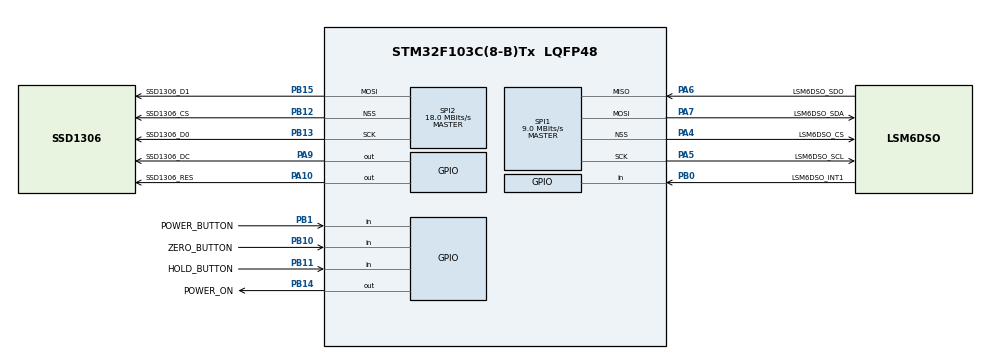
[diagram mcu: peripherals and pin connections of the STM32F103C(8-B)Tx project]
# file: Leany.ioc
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Dma.Request0=SPI2_TX
Dma.SPI2_TX.0.Direction=DMA_MEMORY_TO_PERIPH
Dma.SPI2_TX.0.Instance=DMA1_Channel5
Dma.SPI2_TX.0.MemDataAlignment=DMA_MDATAALIGN_BYTE
Dma.SPI2_TX.0.MemInc=DMA_MINC_ENABLE
Dma.SPI2_TX.0.Mode=DMA_NORMAL
Dma.SPI2_TX.0.PeriphDataAlignment=DMA_PDATAALIGN_BYTE
Dma.SPI2_TX.0.PeriphInc=DMA_PINC_DISABLE
Dma.SPI2_TX.0.Priority=DMA_PRIORITY_LOW
IWDG.Prescaler=IWDG_PRESCALER_4
IWDG.Reload=1000
Mcu.Family=STM32F1
Mcu.Name=STM32F103C(8-B)Tx
Mcu.Package=LQFP48
NVIC.PriorityGroup=NVIC_PRIORITYGROUP_4
PA10.GPIO_Label=SSD1306_RES
PA10.Signal=GPIO_Output
PA13.GPIO_Label=DEBUG_SWDIO
PA13.Mode=Serial_Wire
PA13.Signal=SYS_JTMS-SWDIO
PA14.GPIO_Label=DEBUG_SWCLK
PA14.Mode=Serial_Wire
PA14.Signal=SYS_JTCK-SWCLK
PA4.GPIO_Label=LSM6DSO_CS
PA4.Mode=NSS_Signal_Hard_Output
PA4.Signal=SPI1_NSS
PA5.GPIO_Label=LSM6DSO_SCL
PA5.Mode=Full_Duplex_Master
PA5.Signal=SPI1_SCK
PA6.GPIO_Label=LSM6DSO_SDO
PA6.Mode=Full_Duplex_Master
PA6.Signal=SPI1_MISO
PA7.GPIO_Label=LSM6DSO_SDA
PA7.Mode=Full_Duplex_Master
PA7.Signal=SPI1_MOSI
PA9.GPIO_Label=SSD1306_DC
PA9.Signal=GPIO_Output
PB0.GPIO_Label=LSM6DSO_INT1
PB0.GPIO_PuPd=GPIO_PULLUP
PB0.Signal=GPIO_Input
PB1.GPIO_Label=POWER_BUTTON
PB1.GPIO_PuPd=GPIO_PULLUP
PB1.Signal=GPIO_Input
PB10.GPIO_Label=ZERO_BUTTON
PB10.GPIO_PuPd=GPIO_PULLUP
PB10.Signal=GPIO_Input
PB11.GPIO_Label=HOLD_BUTTON
PB11.GPIO_PuPd=GPIO_PULLUP
PB11.Signal=GPIO_Input
PB12.GPIO_Label=SSD1306_CS
PB12.Mode=NSS_Signal_Hard_Output
PB12.Signal=SPI2_NSS
PB13.GPIO_Label=SSD1306_D0
PB13.Mode=TX_Only_Simplex_Unidirect_Master
PB13.Signal=SPI2_SCK
PB14.GPIO_Label=POWER_ON
PB14.GPIO_Speed=GPIO_SPEED_FREQ_HIGH
PB14.PinState=GPIO_PIN_SET
PB14.Signal=GPIO_Output
PB15.GPIO_Label=SSD1306_D1
PB15.Mode=TX_Only_Simplex_Unidirect_Master
PB15.Signal=SPI2_MOSI
PD0-OSC_IN.Mode=HSE-External-Oscillator
PD0-OSC_IN.Signal=RCC_OSC_IN
PD1-OSC_OUT.Mode=HSE-External-Oscillator
PD1-OSC_OUT.Signal=RCC_OSC_OUT
ProjectManager.HeapSize=0x000
ProjectManager.StackSize=0x400
ProjectManager.TargetToolchain=CMake
RCC.AHBFreq_Value=72000000
RCC.APB1CLKDivider=RCC_HCLK_DIV2
RCC.APB1Freq_Value=36000000
RCC.APB1TimFreq_Value=72000000
RCC.APB2Freq_Value=72000000
RCC.APB2TimFreq_Value=72000000
RCC.HCLKFreq_Value=72000000
RCC.PLLMUL=RCC_PLL_MUL9
RCC.PLLSourceVirtual=RCC_PLLSOURCE_HSE
RCC.SYSCLKFreq_VALUE=72000000
RCC.SYSCLKSource=RCC_SYSCLKSOURCE_PLLCLK
RCC.USBFreq_Value=72000000
SPI1.BaudRatePrescaler=SPI_BAUDRATEPRESCALER_8
SPI1.CLKPhase=SPI_PHASE_2EDGE
SPI1.CLKPolarity=SPI_POLARITY_HIGH
SPI1.CalculateBaudRate=9.0 MBits/s
SPI1.Direction=SPI_DIRECTION_2LINES
SPI1.FirstBit=SPI_FIRSTBIT_MSB
SPI1.Mode=SPI_MODE_MASTER
SPI1.VirtualNSS=VM_NSSHARD
SPI1.VirtualType=VM_MASTER
SPI2.CLKPhase=SPI_PHASE_2EDGE
SPI2.CLKPolarity=SPI_POLARITY_HIGH
SPI2.CalculateBaudRate=18.0 MBits/s
SPI2.Direction=SPI_DIRECTION_2LINES
SPI2.Mode=SPI_MODE_MASTER
SPI2.VirtualNSS=VM_NSSHARD
SPI2.VirtualType=VM_MASTER
VP_IWDG_VS_IWDG.Mode=IWDG_Activate
board=custom

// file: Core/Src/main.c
/* USER CODE BEGIN Header */
// clang-format off
/**
  ******************************************************************************
  * @file           : main.c
  * @brief          : Main program body
  ******************************************************************************
  * @attention
  *
  * Copyright (c) 2023 STMicroelectronics.
  * All rights reserved.
  *
  * This software is licensed under terms that can be found in the LICENSE file
  * in the root directory of this software component.
  * If no LICENSE file comes with this software, it is provided AS-IS.
  *
  ******************************************************************************
  */
/* USER CODE END Header */
#include "main.h"
#include "dma.h"
#include "iwdg.h"
#include "spi.h"
#include "gpio.h"

/* USER CODE BEGIN Includes */
#include "LSM6DSO.h"
#include "SSD1306.h"
#include "buttons.h"
/* USER CODE END Includes */

void SystemClock_Config(void);
/* USER CODE BEGIN PFP */
extern inline uint8_t isError(const errorCode_u code);
/* USER CODE END PFP */

/* USER CODE BEGIN 0 */
/**
 * @brief Reset the POWER ON pin to shut the system down
 */
static inline void powerOFF(){
  LL_GPIO_ResetOutputPin(POWER_ON_GPIO_Port, POWER_ON_Pin);
}
/* USER CODE END 0 */

int main(void)
{

  /* USER CODE BEGIN 1 */
  uint8_t holdingValues = 0;
  /* USER CODE END 1 */

  /* MCU Configuration--------------------------------------------------------*/

  /* Reset of all peripherals, Initializes the Flash interface and the Systick. */
  LL_APB2_GRP1_EnableClock(LL_APB2_GRP1_PERIPH_AFIO);
  LL_APB1_GRP1_EnableClock(LL_APB1_GRP1_PERIPH_PWR);

  /* System interrupt init*/
  NVIC_SetPriorityGrouping(NVIC_PRIORITYGROUP_4);

  /* SysTick_IRQn interrupt configuration */
  NVIC_SetPriority(SysTick_IRQn, NVIC_EncodePriority(NVIC_GetPriorityGrouping(),15, 0));

  /** NOJTAG: JTAG-DP Disabled and SW-DP Enabled
  */
  LL_GPIO_AF_Remap_SWJ_NOJTAG();

  /* Configure the system clock */
  SystemClock_Config();

  /* Initialize all configured peripherals */
  MX_GPIO_Init();
  MX_DMA_Init();
  MX_SPI2_Init();
  MX_IWDG_Init();
  MX_SPI1_Init();
  /* USER CODE BEGIN 2 */
  LL_SYSTICK_EnableIT();
  LSM6DSOinitialise(SPI1);
  SSD1306initialise(SPI2, DMA1, LL_DMA_CHANNEL_5);
  /* USER CODE END 2 */

  /* Infinite loop */
  /* USER CODE BEGIN WHILE */
  errorCode_u result;
  while (1)
  {
    //reset the watchdog
    LL_IWDG_ReloadCounter(IWDG);

	  //update the MEMS sensor state machine
	  result = LSM6DSOupdate();
	  if(isError(result)){
		  result.moduleID = 1;
    }

	  //update the screen state machine
	  result = SSD1306update();
	  if(isError(result)){
		  result.moduleID = 2;
    }

    //update the buttons' state machines
    buttonsUpdate();

    //if zero button is pressed, zero down measurements
    if(buttonHasRisingEdge(ZERO)){
     LSM6DSOzeroDown();
      SSD1306_printReferentialIcon(RELATIVE);
    }

    //if zero button is held down, get back to absolute measurements
    if(isButtonHeldDown(ZERO)){
     LSM6DSOcancelZeroing();
      SSD1306_printReferentialIcon(ABSOLUTE);
    }

    if(buttonHasRisingEdge(HOLD)){
      holdingValues = !holdingValues;
      LSM6DSOhold(holdingValues);
      SSD1306_printHoldIcon(holdingValues);
    }

    //if power button is held down, shut down
    if(isButtonHeldDown(POWER)){
      SSD1306_turnDisplayOFF();
      powerOFF();
    }

	  //if X axis angle changed, update the screen
	  if(LSM6DSOhasChanged(X_AXIS)){
		  SSD1306_printAngleTenths(getAngleDegreesTenths(X_AXIS), ROLL);
    }

	  //if Y axis angle changed, update the screen
	  if(LSM6DSOhasChanged(Y_AXIS)){
		  SSD1306_printAngleTenths(getAngleDegreesTenths(Y_AXIS), PITCH);
    }
    /* USER CODE END WHILE */

  }
}

void SystemClock_Config(void)
{
  LL_FLASH_SetLatency(LL_FLASH_LATENCY_2);
  while(LL_FLASH_GetLatency()!= LL_FLASH_LATENCY_2)
  {
  }
  LL_RCC_HSE_Enable();

   /* Wait till HSE is ready */
  while(LL_RCC_HSE_IsReady() != 1)
  {

  }
  LL_RCC_LSI_Enable();

   /* Wait till LSI is ready */
  while(LL_RCC_LSI_IsReady() != 1)
  {

  }
  LL_RCC_PLL_ConfigDomain_SYS(LL_RCC_PLLSOURCE_HSE_DIV_1, LL_RCC_PLL_MUL_9);
  LL_RCC_PLL_Enable();

   /* Wait till PLL is ready */
  while(LL_RCC_PLL_IsReady() != 1)
  {

  }
  LL_RCC_SetAHBPrescaler(LL_RCC_SYSCLK_DIV_1);
  LL_RCC_SetAPB1Prescaler(LL_RCC_APB1_DIV_2);
  LL_RCC_SetAPB2Prescaler(LL_RCC_APB2_DIV_1);
  LL_RCC_SetSysClkSource(LL_RCC_SYS_CLKSOURCE_PLL);

   /* Wait till System clock is ready */
  while(LL_RCC_GetSysClkSource() != LL_RCC_SYS_CLKSOURCE_STATUS_PLL)
  {

  }
  LL_Init1msTick(72000000);
  LL_SetSystemCoreClock(72000000);
}

void Error_Handler(void)
{
  __disable_irq();
  while (1)
  {
  }
}
